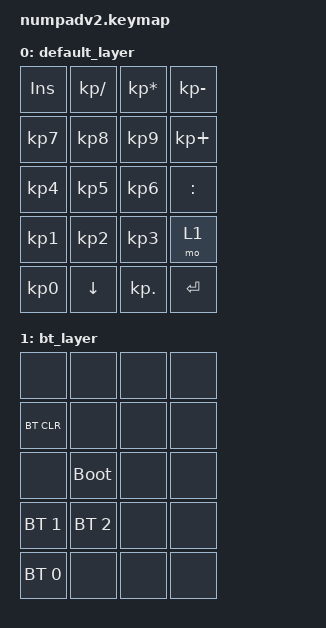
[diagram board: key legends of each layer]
#include <behaviors.dtsi>
#include <dt-bindings/zmk/keys.h>
#include <dt-bindings/zmk/bt.h>

/ {
    keymap {
        compatible = "zmk,keymap";

        default_layer {
            bindings = <
                &kp INS     &kp KP_DIVIDE   &kp KP_MULTIPLY   &kp KP_MINUS
                &kp KP_N7   &kp KP_N8       &kp KP_N9       &kp KP_PLUS
                &kp KP_N4   &kp KP_N5       &kp KP_N6       &kp COLON
                &kp KP_N1   &kp KP_N2       &kp KP_N3       &mo 1
                &kp KP_N0   &kp DOWN        &kp KP_DOT      &kp ENTER
            >;
        };

        bt_layer {
            bindings = <
                &none           &none           &none   &none
                &bt BT_CLR      &none           &none   &none
                &none           &bootloader     &none   &none
                &bt BT_SEL 1    &bt BT_SEL 2    &none   &none
                &bt BT_SEL 0    &none           &none   &none
            >;
        };
    };
};
